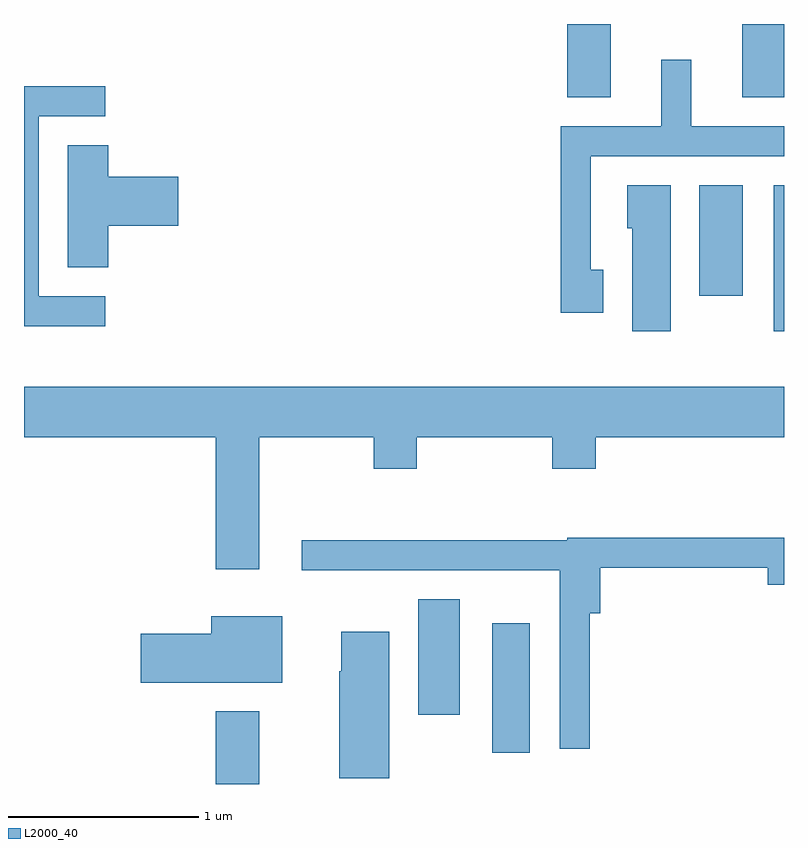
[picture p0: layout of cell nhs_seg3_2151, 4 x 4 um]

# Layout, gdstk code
import gdstk
lib = gdstk.Library(unit=1e-6, precision=1e-09)
def R(c, l, rs):  # rectangles x0, y0, x1, y1
    for r in rs: c.add(gdstk.rectangle(r[:2], r[2:], *l))
def P(c, l, *ps):  # polygons
    for p in ps: c.add(gdstk.Polygon(p, *l))
L2000_40 = (2000, 40)

nhs_seg3_2151 = lib.new_cell('nhs_seg3_2151')
R(nhs_seg3_2151, L2000_40, [(248.621,1201.892,248.849,1202.274), (250.076,1202.056,250.274,1202.739), (249.686,1202.256,249.904,1202.864), (251.556,1204.276,251.611,1205.044), (251.166,1204.461,251.394,1205.044), (250.471,1205.506,250.699,1205.892), (251.391,1205.506,251.611,1205.892)])
P(nhs_seg3_2151, L2000_40, [(250.659,1204.599),(250.594,1204.599),(250.594,1205.196),(251.611,1205.196),(251.611,1205.354),(251.124,1205.354),(251.124,1205.703),(250.966,1205.703),(250.966,1205.354),(250.436,1205.354),(250.436,1204.371),(250.659,1204.371)],
  [(248.038,1204.459),(247.689,1204.459),(247.689,1205.406),(248.038,1205.406),(248.038,1205.564),(247.611,1205.564),(247.611,1204.301),(248.038,1204.301)],
  [(248.054,1204.831),(248.424,1204.831),(248.424,1205.089),(248.054,1205.089),(248.054,1205.254),(247.841,1205.254),(247.841,1204.611),(248.054,1204.611)],
  [(251.014,1205.044),(250.786,1205.044),(250.786,1204.816),(250.811,1204.816),(250.811,1204.276),(251.014,1204.276)],
  [(248.849,1203.716),(249.451,1203.716),(249.451,1203.551),(249.679,1203.551),(249.679,1203.716),(250.391,1203.716),(250.391,1203.551),(250.619,1203.551),(250.619,1203.716),(251.611,1203.716),(251.611,1203.984),(247.611,1203.984),(247.611,1203.716),(248.621,1203.716),(248.621,1203.021),(248.849,1203.021)],
  [(250.589,1202.791),(250.644,1202.791),(250.644,1203.031),(251.526,1203.031),(251.526,1202.941),(251.611,1202.941),(251.611,1203.189),(250.47,1203.189),(250.47,1203.174),(249.073,1203.174),(249.073,1203.016),(250.431,1203.016),(250.431,1202.078),(250.589,1202.078)],
  [(248.969,1202.774),(248.596,1202.774),(248.596,1202.684),(248.226,1202.684),(248.226,1202.426),(248.969,1202.426)],
  [(249.534,1202.694),(249.281,1202.694),(249.281,1202.485),(249.271,1202.485),(249.271,1201.921),(249.534,1201.921)])

lib.write_gds('nhs_seg3_2151.gds')
